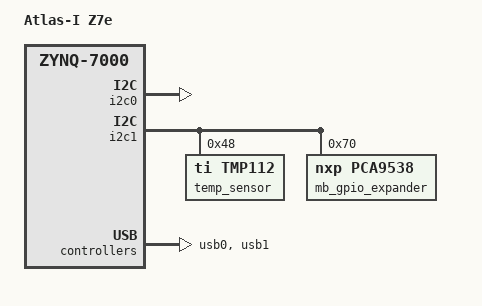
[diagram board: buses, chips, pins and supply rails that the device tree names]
#include <atlas-z7-inc.dtsi>

/ {
    model = "Atlas-I Z7e";
    compatible = "iveia,00049", "iveia,atlas-z7", "xlnx,zynq-7000";
};

&gem0 {
    status = "disabled";
};

&gem1 {
    status = "disabled";
};

&i2c0 {
    status = "okay";
};

&i2c1 {
    status = "okay";

    temp_sensor: temp_sensor@48 {
        compatible = "ti,tmp112";
        reg = <0x48>;
    };

    mb_gpio_expander: gpio_expander@70 {
        compatible = "nxp,pca9538";
        reg = <0x70>;
        gpio-controller;
        #gpio-cells = <2>;
    };
};

&iv_ipmi_mb {
    i2c = <1 0x52 0>;               // < bus_num addr offset >
    wp {
        i2c_gpio = <1 0x70 2 1>;    // < bus_num addr gpio_num active_state >
    };
};

&usb0 {
    status = "okay";
};

&usb1 {
    status = "okay";
};

